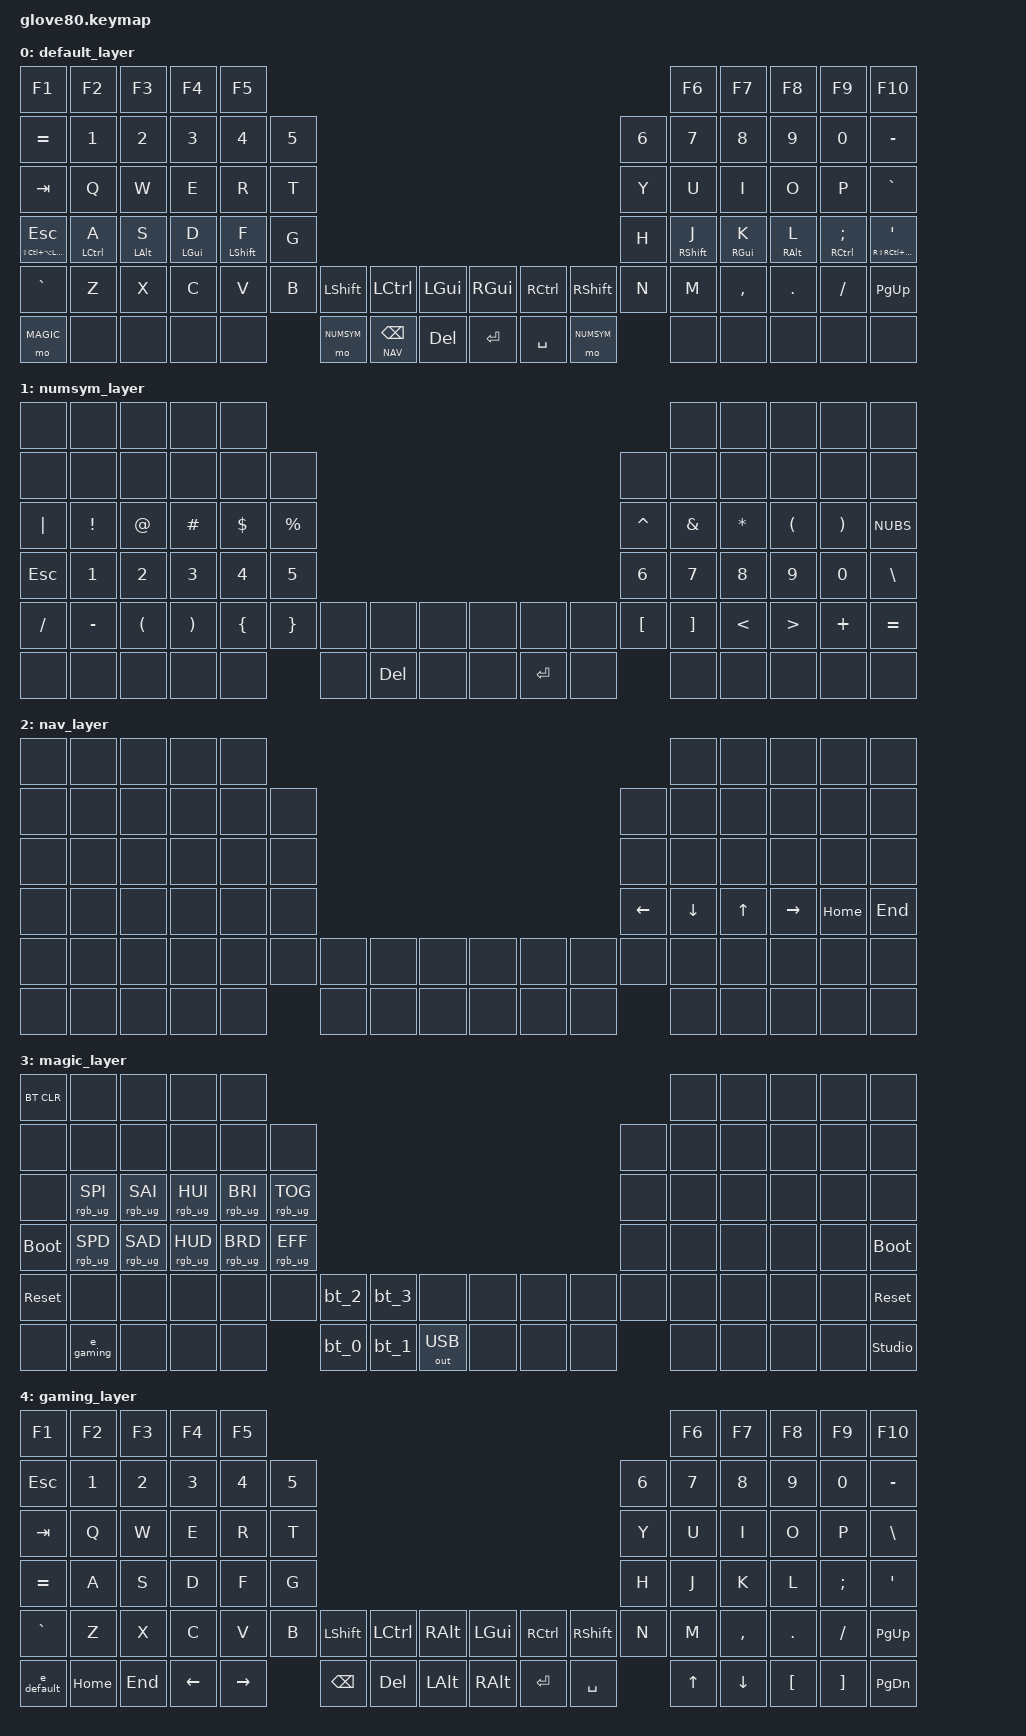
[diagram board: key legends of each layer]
/*
 * Copyright (c) 2020 The ZMK Contributors
 *
 * SPDX-License-Identifier: MIT
 */

#include <behaviors.dtsi>
#include <dt-bindings/zmk/keys.h>
#include <dt-bindings/zmk/bt.h>
#include <dt-bindings/zmk/ext_power.h>
#include <dt-bindings/zmk/outputs.h>
#include <dt-bindings/zmk/rgb.h>

// github.com/urob/zmk-helpers
#include "zmk-helpers/helper.h"
#include "zmk-helpers/key-labels/glove80.h"

#define KEYS_L LC1 LC2 LC3 LC4 LC5 LN0 LN1 LN2 LN3 LN4 LN5 LT0 LT1 LT2 LT3 LT4 LT5 LM0 LM1 LM2 LM3 LM4 LM5 LB0 LB1 LB2 LB3 LB4 LB5 LF1 LF2 LF3 LF4 LF5
#define KEYS_R RC1 RC2 RC3 RC4 RC5 RN0 RN1 RN2 RN3 RN4 RN5 RT0 RT1 RT2 RT3 RT4 RT5 RM0 RM1 RM2 RM3 RM4 RM5 RB0 RB1 RB2 RB3 RB4 RB5 RF1 RF2 RF3 RF4 RF5
#define THUMBS LH0 LH1 LH2 LH3 LH4 LH5 RH0 RH1 RH2 RH3 RH4 RH5

// layers
#define DEFAULT 0
#define NUMSYM 1
#define NAV 2
#define MAGIC 3
#define GAMING 4

// Hyper keys
#define LHYP LS(LC(LA(LGUI)))
#define RHYP RS(RC(RA(RGUI)))

/ {
    behaviors {
        hml: homerow_mods_left {
            compatible = "zmk,behavior-hold-tap";
            label = "HOMEROW_MODS_LEFT";
            #binding-cells = <2>;
            flavor = "balanced";
            tapping-term-ms = <150>;
            quick-tap-ms = <175>;
            require-prior-idle-ms = <150>;
            hold-trigger-key-positions = <KEYS_R THUMBS>;
            hold-trigger-on-release;
            bindings = <&kp>, <&kp>;
        };
            
        hmr: homerow_mods_right {
            compatible = "zmk,behavior-hold-tap";
            label = "HOMEROW_MODS_RIGHT";
            #binding-cells = <2>;
            flavor = "balanced";
            tapping-term-ms = <150>;
            quick-tap-ms = <175>;
            require-prior-idle-ms = <150>;
            hold-trigger-key-positions = <KEYS_L THUMBS>;
            hold-trigger-on-release;
            bindings = <&kp>, <&kp>;
        };
            
        hl: hold_layer {
            compatible = "zmk,behavior-hold-tap";
            label = "HOLD_LAYER";
            #binding-cells = <2>;
            tapping-term-ms = <220>;
            quick-tap-ms = <175>;
            flavor = "tap-preferred";
            bindings = <&mo>, <&kp>;
        };
    };

    macros {
        bt_0: bt_profile_macro_0 {
            compatible = "zmk,behavior-macro";
            #binding-cells = <0>;
            bindings
                = <&out OUT_BLE>,
                  <&bt BT_SEL 0>;
        };

        bt_1: bt_profile_macro_1 {
            compatible = "zmk,behavior-macro";
            #binding-cells = <0>;
            bindings
                = <&out OUT_BLE>,
                  <&bt BT_SEL 1>;
        };

        bt_2: bt_profile_macro_2 {
            compatible = "zmk,behavior-macro";
            #binding-cells = <0>;
            bindings
                = <&out OUT_BLE>,
                  <&bt BT_SEL 2>;
        };

        bt_3: bt_profile_macro_3 {
            compatible = "zmk,behavior-macro";
            #binding-cells = <0>;
            bindings
                = <&out OUT_BLE>,
                  <&bt BT_SEL 3>;
        };

        e_gaming: enter_gaming {
            compatible = "zmk,behavior-macro";
            #binding-cells = <0>;
            bindings
                = <&rgb_ug RGB_ON>,
                  <&to GAMING>;
        
        };
            
        e_default: enter_default {
            compatible = "zmk,behavior-macro";
            #binding-cells = <0>;
            bindings
                = <&rgb_ug RGB_OFF>,
                  <&to DEFAULT>;
        
        };
    };

    keymap {
        compatible = "zmk,keymap";
        /*
        template_layer {
            bindings = <
            &none      &none      &none      &none      &none                                                                                              &none      &none      &none      &none      &none      
            &none      &none      &none      &none      &none      &none                                                                        &none      &none      &none      &none      &none      &none      
            &none      &none      &none      &none      &none      &none                                                                        &none      &none      &none      &none      &none      &none      
            &none      &none      &none      &none      &none      &none                                                                        &none      &none      &none      &none      &none      &none      
            &none      &none      &none      &none      &none      &none      &none      &none      &none      &none      &none      &none      &none      &none      &none      &none      &none      &none      
            &none      &none      &none      &none      &none                 &none      &none      &none      &none      &none      &none                 &none      &none      &none      &none      &none      
            >;
        };
        */

        default_layer {
            bindings = <
            &kp F1          &kp F2        &kp F3       &kp F4      &kp F5                                                                                                 &kp F6         &kp F7       &kp F8      &kp F9          &kp F10
            &kp EQUAL       &kp N1        &kp N2       &kp N3      &kp N4        &kp N5                                                                           &kp N6  &kp N7         &kp N8       &kp N9      &kp N0          &kp MINUS
            &kp TAB         &kp Q         &kp W        &kp E       &kp R         &kp T                                                                            &kp Y   &kp U          &kp I        &kp O       &kp P           &kp GRAVE
            &hml LHYP ESC   &hml LCTRL A  &hml LALT S  &hml LGUI D &hml LSHIFT F &kp G                                                                            &kp H   &hmr RSHIFT J  &hmr RGUI K  &hmr RALT L &hmr RCTRL SEMI &hmr RHYP SQT
            &kp GRAVE       &kp Z         &kp X        &kp C       &kp V         &kp B   &kp LSHFT   &kp LCTRL       &kp LGUI   &kp RGUI   &kp RCTRL &kp RSHIFT   &kp N   &kp M          &kp COMMA    &kp DOT     &kp FSLH        &kp PG_UP
            &mo MAGIC       &none         &none        &none       &none                 &mo NUMSYM  &hl NAV BSPC    &kp DEL    &kp RET    &kp SPACE &mo NUMSYM           &none          &none        &none       &none           &none
            >;
        };

        numsym_layer {
            bindings = <
            &none      &none      &none      &none      &none                                                                                              &none      &none      &none      &none      &none      
            &none      &none      &none      &none      &none      &none                                                                        &none      &none      &none      &none      &none      &none      
            &kp PIPE   &kp EXCL   &kp AT     &kp HASH   &kp DLLR   &kp PRCNT                                                                    &kp CARET  &kp AMPS   &kp STAR   &kp LPAR   &kp RPAR   &kp NUBS      
            &kp ESC    &kp N1     &kp N2     &kp N3     &kp N4     &kp N5                                                                       &kp N6     &kp N7     &kp N8     &kp N9     &kp N0     &kp BSLH      
            &kp FSLH   &kp MINUS  &kp LPAR   &kp RPAR   &kp LBRC   &kp RBRC   &none      &none      &none      &none      &none      &none      &kp LBKT   &kp RBKT   &kp LT     &kp GT     &kp PLUS   &kp EQUAL
            &none      &none      &none      &none      &none                 &none      &kp DEL    &none      &none      &kp RET    &none                 &none      &none      &none      &none      &none      
            >;
        };
            
        nav_layer {
            bindings = <
            &none      &none      &none      &none      &none                                                                                              &none      &none      &none      &none      &none      
            &none      &none      &none      &none      &none      &none                                                                        &none      &none      &none      &none      &none      &none      
            &none      &none      &none      &none      &none      &none                                                                        &none      &none      &none      &none      &none      &none      
            &none      &none      &none      &none      &none      &none                                                                        &kp LEFT   &kp DOWN   &kp UP     &kp RIGHT  &kp HOME   &kp END      
            &none      &none      &none      &none      &none      &none      &none      &none      &none      &none      &none      &none      &none      &none      &none      &none      &none      &none      
            &none      &none      &none      &none      &none                 &none      &none      &none      &none      &none      &none                 &none      &none      &none      &none      &none      
            >;
        };

        magic_layer {
            bindings = <
            &bt BT_CLR        &none               &none           &none           &none                                                                                                           &none      &none      &none      &none      &none
            &none             &none               &none           &none           &none           &none                                                                                &none      &none      &none      &none      &none      &none
            &none             &rgb_ug RGB_SPI     &rgb_ug RGB_SAI &rgb_ug RGB_HUI &rgb_ug RGB_BRI &rgb_ug RGB_TOG                                                                      &none      &none      &none      &none      &none      &none
            &bootloader       &rgb_ug RGB_SPD     &rgb_ug RGB_SAD &rgb_ug RGB_HUD &rgb_ug RGB_BRD &rgb_ug RGB_EFF                                                                      &none      &none      &none      &none      &none      &bootloader
            &sys_reset        &none               &none           &none           &none           &none           &bt_2     &bt_3     &none            &none     &none     &none       &none      &none      &none      &none      &none      &sys_reset
            &none             &e_gaming           &none           &none           &none                           &bt_0     &bt_1     &out OUT_USB     &none     &none     &none                  &none      &none      &none      &none      &studio_unlock
            >;
        };

        gaming_layer {
            bindings = <
            &kp F1         &kp F2   &kp F3      &kp F4      &kp F5                                                                                         &kp F6  &kp F7      &kp F8      &kp F9      &kp F10
            &kp ESC        &kp N1   &kp N2      &kp N3      &kp N4      &kp N5                                                                     &kp N6  &kp N7  &kp N8      &kp N9      &kp N0      &kp MINUS
            &kp TAB        &kp Q    &kp W       &kp E       &kp R       &kp T                                                                      &kp Y   &kp U   &kp I       &kp O       &kp P       &kp BSLH
            &kp EQUAL      &kp A    &kp S       &kp D       &kp F       &kp G                                                                      &kp H   &kp J   &kp K       &kp L       &kp SEMI    &kp SQT
            &kp GRAVE      &kp Z    &kp X       &kp C       &kp V       &kp B   &kp LSHFT   &kp LCTRL   &kp RALT   &kp LGUI  &kp RCTRL &kp RSHFT   &kp N   &kp M   &kp COMMA   &kp DOT     &kp FSLH    &kp PG_UP
            &e_default     &kp HOME &kp END     &kp LEFT    &kp RIGHT           &kp BSPC    &kp DEL     &kp LALT   &kp RALT  &kp RET   &kp SPACE           &kp UP  &kp DOWN    &kp LBKT    &kp RBKT    &kp PG_DN
            >;
        };

        extra1 { 
            status = "reserved";
        };
            
        extra2 { 
            status = "reserved";
        };
            
        extra3 { 
            status = "reserved";
        };
            
        extra4 { 
            status = "reserved";
        };
            
        extra5 { 
            status = "reserved";
        };
    };
};
